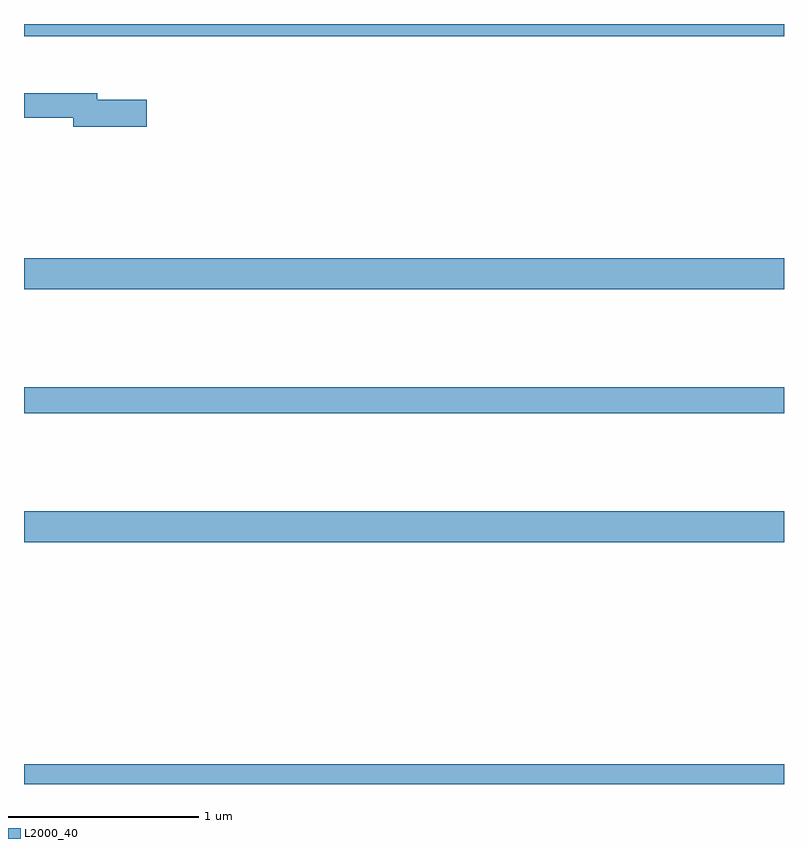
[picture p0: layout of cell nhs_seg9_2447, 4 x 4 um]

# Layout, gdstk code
import gdstk
lib = gdstk.Library(unit=1e-6, precision=1e-09)
def R(c, l, rs):  # rectangles x0, y0, x1, y1
    for r in rs: c.add(gdstk.rectangle(r[:2], r[2:], *l))
def P(c, l, *ps):  # polygons
    for p in ps: c.add(gdstk.Polygon(p, *l))
L2000_40 = (2000, 40)

nhs_seg9_2447 = lib.new_cell('nhs_seg9_2447')
R(nhs_seg9_2447, L2000_40, [(251,1176.5,255,1176.604), (251,1177.772,255,1177.936), (251,1178.452,255,1178.588), (251,1179.104,255,1179.268), (251,1180.436,255,1180.5)])
P(nhs_seg9_2447, L2000_40, [(251.647,1180.101),(251.386,1180.101),(251.386,1180.135),(251,1180.135),(251,1180.006),(251.258,1180.006),(251.258,1179.959),(251.647,1179.959)])

lib.write_gds('nhs_seg9_2447.gds')
